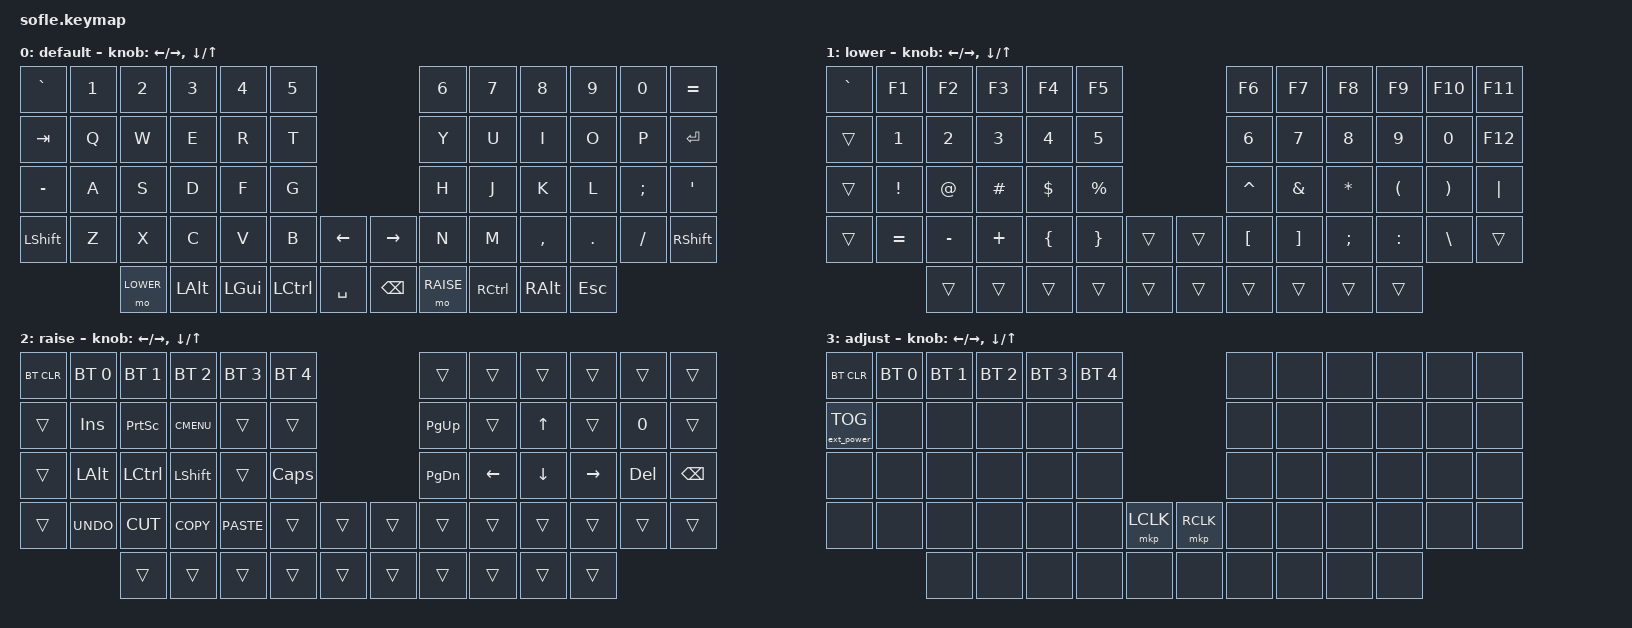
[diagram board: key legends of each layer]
/*
 * Copyright (c) 2020 The ZMK Contributors
 *
 * SPDX-License-Identifier: MIT
 */

#include <behaviors.dtsi>
#include <dt-bindings/zmk/keys.h>
#include <dt-bindings/zmk/bt.h>
// #include <dt-bindings/zmk/rgb.h>
#include <dt-bindings/zmk/ext_power.h>
#include <dt-bindings/zmk/pointing.h>

#define BASE 0
#define LOWER 1
#define RAISE 2
#define ADJUST 3

&nice_view_spi {
    cs-gpios = <&pro_micro 4 GPIO_ACTIVE_HIGH>;
};

/ {

   // Activate ADJUST layer by pressing raise and lower
    conditional_layers {
        compatible = "zmk,conditional-layers";
        adjust_layer {
            if-layers = <LOWER RAISE>;
            then-layer = <ADJUST>;
        };
    };

    keymap {
        compatible = "zmk,keymap";
        default_layer {
          display-name = "default";
          // ------------------------------------------------------------------------------------------------------------
          // |   `   |  1  |  2  |  3   |  4   |  5   |                   |  6   |  7    |  8    |  9   |   0   |  EQUAL|
          // |  TAB  |  Q  |  W  |  E   |  R   |  T   |                   |  Y   |  U    |  I    |  O   |   P   |   RET |
          // | SHIFT |  A  |  S  |  D   |  F   |  G   |                   |  H   |  J    |  K    |  L   |   ;   |  RSHFT|
          // |   -   |  Z  |  X  |  C   |  V   |  B   |  <-  |     |  ->  |  N   |  M    |  ,    |  .   |   /   | '     |
          //               | GUI | ALT  | CTRL | LOWER|  SPACE |  | BSPC | RAISE| CTRL  | ALT   | ESC  |
          bindings = <
              &kp GRAVE   &kp N1    &kp N2    &kp N3    &kp N4    &kp N5                                    &kp N6    &kp N7    &kp N8    &kp N9    &kp N0    &kp EQUAL 
              &kp TAB     &kp Q     &kp W     &kp E     &kp R     &kp T                                     &kp Y     &kp U     &kp I     &kp O     &kp P     &kp RET 
              &kp MINUS  &kp A     &kp S     &kp D     &kp F     &kp G                                     &kp H     &kp J     &kp K     &kp L     &kp SEMI &kp SINGLE_QUOTE 
              &kp LSHIFT   &kp Z     &kp X     &kp C     &kp V     &kp B     &kp LEFT_ARROW &kp RIGHT_ARROW  &kp N     &kp M     &kp COMMA &kp DOT   &kp FSLH   &kp RSHFT 
                          &mo LOWER &kp LALT  &kp LGUI &kp LCTRL  &kp SPACE                                 &kp BSPC  &mo RAISE &kp RCTRL &kp RALT  &kp ESC
          >;
          sensor-bindings = <
              &inc_dec_kp LEFT_ARROW RIGHT_ARROW &inc_dec_kp DOWN_ARROW UP_ARROW
          >;
        };

        lower_layer {
            display-name = "lower";
                // ------------------------------------------------------------------------------------------------------------
                // |   `   |  F1 |  F2 |  F3  |  F4  |  F5  |                   |  F6  |  F7   |  F8   |  F9  |  F10  |  F11  |
                // |       |  1  |  2  |  3   |  4   |  5   |                   |  6   |  7    |  8    |  9   |   0   |  F12  |
                // |       |  !  |  @  |  #   |  $   |  %   |                   |  ^   |  &    |  *    |  (   |   )   |   |   |
                // |       |  =  |  -  |  +   |  {   |  }   |        |  |       |  [   |  ]    |  ;    |  :   |   \   |       |
                //               |     |      |      |      |        |  |       |      |       |       |      |
            bindings = <
                &kp GRAVE    &kp F1    &kp F2    &kp F3      &kp F4    &kp F5                    &kp F6    &kp F7   &kp F8    &kp F9    &kp F10   &kp F11
                &trans &kp N1    &kp N2    &kp N3      &kp N4    &kp N5                    &kp N6    &kp N7   &kp N8    &kp N9    &kp N0    &kp F12
                &trans    &kp EXCL  &kp AT    &kp HASH    &kp DLLR  &kp PRCNT                 &kp CARET &kp AMPS &kp ASTRK &kp LPAR  &kp RPAR  &kp PIPE
                &trans    &kp EQUAL &kp MINUS &kp PLUS &kp LBRC  &kp RBRC   &trans &trans  &kp LBKT  &kp RBKT &kp SEMI  &kp COLON &kp BSLH  &trans
                                    &trans    &trans      &trans    &trans     &trans &trans  &trans    &trans   &trans    &trans
            >;
            sensor-bindings = <
                &inc_dec_kp LEFT_ARROW RIGHT_ARROW &inc_dec_kp DOWN_ARROW UP_ARROW
            >;
        };

        raise_layer {
            display-name = "raise";
                // ------------------------------------------------------------------------------------------------------------
                // | BTCLR | BT1  | BT2  |  BT3  |  BT4  |  BT5 |                |      |      |       |      |       |       |
                // |       | INS  | PSCR | GUI   |       |      |                | PGUP |      |   ^   |      |       |       |
                // |       | ALT  | CTRL | SHIFT |       | CAPS |                | PGDN |   <- |   v   |  ->  |  DEL  | BKSPC |
                // |       | UNDO | CUT  | COPY  | PASTE |      |      |  |      |      |      |       |      |       |       |
                //                |      |       |       |      |      |  |      |      |      |       |      |
            bindings = <
                &bt BT_CLR &bt BT_SEL 0 &bt BT_SEL 1 &bt BT_SEL 2 &bt BT_SEL 3 &bt BT_SEL 4                  &trans    &trans    &trans   &trans    &trans  &trans
                &trans     &kp INS      &kp PSCRN    &kp K_CMENU  &trans       &trans                        &kp PG_UP &trans    &kp UP   &trans    &kp N0  &trans
                &trans     &kp LALT     &kp LCTRL    &kp LSHFT    &trans       &kp CLCK                      &kp PG_DN &kp LEFT  &kp DOWN &kp RIGHT &kp DEL &kp BSPC
                &trans     &kp K_UNDO   &kp K_CUT    &kp K_COPY   &kp K_PASTE  &trans        &trans  &trans  &trans    &trans    &trans   &trans    &trans  &trans
                                        &trans       &trans       &trans       &trans        &trans  &trans  &trans    &trans    &trans   &trans
            >;
            sensor-bindings = <
                &inc_dec_kp LEFT_ARROW RIGHT_ARROW &inc_dec_kp DOWN_ARROW UP_ARROW
            >;
        };

        adjust_layer {
          // ----------------------------------------------------------------------------------------------------------------------------
          // | BTCLR  |  BT1    |  BT2    |   BT3   |   BT4   |   BT5   |                  |      |      |       |      |       |       |
          // | EXTPWR |         |         |         |         |         |                  |      |      |       |      |       |       |
          // |        |         |         |         |         |         |                  |      |      |       |      |       |       |
          // |        |         |         |         |         |         |         | |      |      |      |       |      |       |       |
          //                    |         |         |         |         |         | |      |      |      |       |      |
          display-name = "adjust";
          bindings = <
              &bt BT_CLR &bt BT_SEL 0 &bt BT_SEL 1 &bt BT_SEL 2 &bt BT_SEL 3 &bt BT_SEL 4 &none &none &none &none &none &none 
              &ext_power EP_TOG &none &none &none &none &none                             &none &none &none &none &none &none 
              &none             &none &none &none &none &none                             &none &none &none &none &none &none 
              &none             &none &none &none &none &none &mkp LCLK         &mkp RCLK &none &none &none &none &none &none 
                                      &none &none &none &none &none             &none     &none &none &none &none
          >;
          sensor-bindings = <
                &inc_dec_kp LEFT_ARROW RIGHT_ARROW &inc_dec_kp DOWN_ARROW UP_ARROW>;
        };

    };
};

